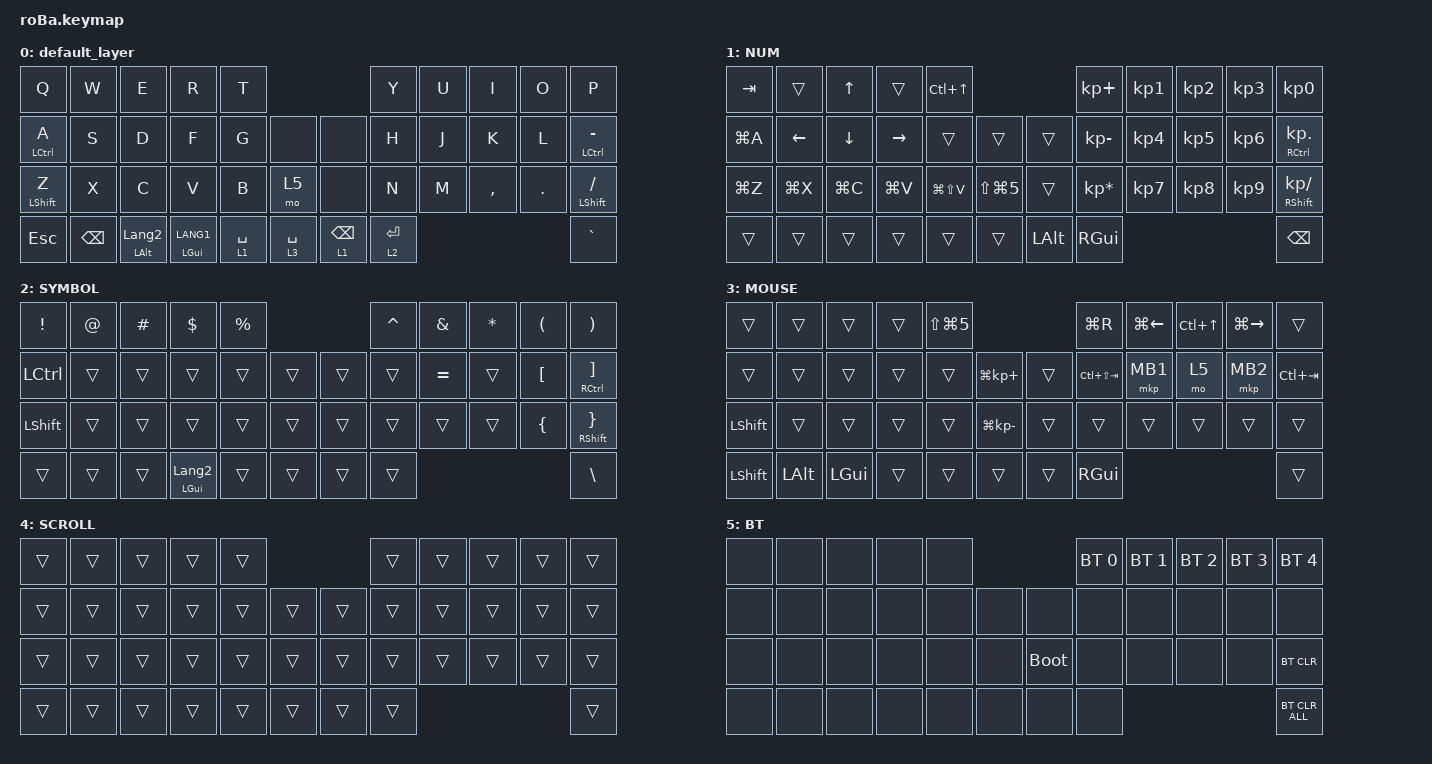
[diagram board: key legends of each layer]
#include <behaviors.dtsi>
#include <dt-bindings/zmk/bt.h>
#include <dt-bindings/zmk/keys.h>
#include <dt-bindings/zmk/pointing.h>

&mt {
    flavor = "balanced";
    quick-tap-ms = <0>;
};

&trackball {
    automouse-layer = <4>;
    scroll-layers = <5>;

    // arrows {
    //     layers = <3>;
    //     bindings =
    //         <&kp RIGHT_ARROW>,
    //         <&kp LEFT_ARROW>,
    //         <&kp UP_ARROW>,
    //         <&kp DOWN_ARROW>;
    //     tick = <10>;
    //     wait-ms = <5>;
    //     tap-ms = <5>;
    // };
};

/ {
    combos {
        compatible = "zmk,combos";

        tab {
            bindings = <&kp TAB>;
            key-positions = <11 12>;
        };

        shift_tab {
            bindings = <&kp LS(TAB)>;
            key-positions = <12 13>;
        };

        muhennkann {
            bindings = <&to_layer_0 INT_MUHENKAN>;
            key-positions = <11 10>;
        };

        single_quotation {
            bindings = <&kp SINGLE_QUOTE>;
            key-positions = <20 21>;
        };

        double_quotation {
            bindings = <&kp DOUBLE_QUOTES>;
            key-positions = <20 21 22>;
        };

        semi_colon {
            bindings = <&kp SEMI>;
            key-positions = <19 20>;
        };

        colon {
            bindings = <&kp LS(SEMICOLON)>;
            key-positions = <22 19 20>;
        };

        left_click {
            bindings = <&mkp LCLK>;
            key-positions = <18 19>;
        };

        scroll {
            bindings = <&mo 5>;
            key-positions = <18 20>;
        };

        right_click {
            bindings = <&mkp RCLK>;
            key-positions = <18 21>;
        };
    };

    macros {
        to_layer_0: to_layer_0 {
            compatible = "zmk,behavior-macro-one-param";
            #binding-cells = <1>;
            bindings = <&to 0 &macro_param_1to1 &kp MACRO_PLACEHOLDER>;
            label = "TO_LAYER_0";
        };
    };

    behaviors {
        lt_to_layer_0: lt_to_layer_0 {
            compatible = "zmk,behavior-hold-tap";
            label = "LAYER_TAP_TO_0";
            bindings = <&mo>, <&to_layer_0>;

            #binding-cells = <2>;
            tapping-term-ms = <200>;
        };
    };

    keymap {
        compatible = "zmk,keymap";

        default_layer {
            bindings = <
&kp Q             &kp W          &kp E                    &kp R               &kp T                                          &kp Y        &kp U  &kp I      &kp O    &kp P
&mt LCTRL A       &kp S          &kp D                    &kp F               &kp G        &none            &none            &kp H        &kp J  &kp K      &kp L    &mt LEFT_CONTROL MINUS
&mt LEFT_SHIFT Z  &kp X          &kp C                    &kp V               &kp B        &mo 5            &none            &kp N        &kp M  &kp COMMA  &kp DOT  &mt LEFT_SHIFT SLASH
&kp ESCAPE        &kp BACKSPACE  &mt LEFT_ALT LANGUAGE_2  &mt LEFT_GUI LANG1  &lt 1 SPACE  &lt 3 SPACE      &lt 1 BACKSPACE  &lt 2 ENTER                             &kp GRAVE
            >;
        };

        NUM {
            bindings = <
&kp TAB    &trans          &kp UP_ARROW    &trans           &kp LC(UP_ARROW)                                          &kp KP_PLUS      &kp KP_NUMBER_1  &kp KP_NUMBER_2  &kp KP_NUMBER_3  &kp KP_NUMBER_0
&kp LG(A)  &kp LEFT_ARROW  &kp DOWN_ARROW  &kp RIGHT_ARROW  &trans            &trans                    &trans        &kp KP_MINUS     &kp KP_NUMBER_4  &kp KP_NUMBER_5  &kp KP_NUMBER_6  &mt RIGHT_CONTROL KP_DOT
&kp LG(Z)  &kp LG(X)       &kp LG(C)       &kp LG(V)        &kp LG(LS(V))     &kp LS(LG(NUMBER_5))      &trans        &kp KP_ASTERISK  &kp KP_NUMBER_7  &kp KP_NUMBER_8  &kp KP_NUMBER_9  &mt RIGHT_SHIFT KP_SLASH
&trans     &trans          &trans          &trans           &trans            &trans                    &kp LEFT_ALT  &kp RIGHT_GUI                                                       &kp BACKSPACE
            >;
        };

        SYMBOL {
            bindings = <
&kp EXCLAMATION   &kp AT  &kp HASH  &kp DOLLAR               &kp PERCENT                      &kp CARET  &kp AMPERSAND  &kp ASTRK  &kp LEFT_PARENTHESIS  &kp RIGHT_PARENTHESIS
&kp LEFT_CONTROL  &trans  &trans    &trans                   &trans       &trans      &trans  &trans     &kp EQUAL      &trans     &kp LEFT_BRACKET      &mt RIGHT_CONTROL RIGHT_BRACKET
&kp LEFT_SHIFT    &trans  &trans    &trans                   &trans       &trans      &trans  &trans     &trans         &trans     &kp LEFT_BRACE        &mt RIGHT_SHIFT RIGHT_BRACE
&trans            &trans  &trans    &mt LEFT_GUI LANGUAGE_2  &trans       &trans      &trans  &trans                                                     &kp BACKSLASH
            >;
        };

        MOUSE {
            bindings = <
&trans          &trans        &trans        &trans  &kp LS(LG(NUMBER_5))                                &kp LG(R)        &kp LG(LEFT_ARROW)  &kp LC(UP_ARROW)  &kp LG(RIGHT_ARROW)  &trans
&trans          &trans        &trans        &trans  &trans                &kp LG(KP_PLUS)       &trans  &kp LC(LS(TAB))  &mkp MB1            &mo 5             &mkp MB2             &kp LC(TAB)
&kp LEFT_SHIFT  &trans        &trans        &trans  &trans                &kp LG(KP_MINUS)      &trans  &trans           &trans              &trans            &trans               &trans
&kp LEFT_SHIFT  &kp LEFT_ALT  &kp LEFT_GUI  &trans  &trans                &trans                &trans  &kp RIGHT_GUI                                                               &trans
            >;
        };

        SCROLL {
            bindings = <
&trans  &trans  &trans  &trans  &trans                      &trans  &trans  &trans  &trans  &trans
&trans  &trans  &trans  &trans  &trans  &trans      &trans  &trans  &trans  &trans  &trans  &trans
&trans  &trans  &trans  &trans  &trans  &trans      &trans  &trans  &trans  &trans  &trans  &trans
&trans  &trans  &trans  &trans  &trans  &trans      &trans  &trans                          &trans
            >;
        };

        BT {
            bindings = <
&none  &none  &none  &none  &none                          &bt BT_SEL 0  &bt BT_SEL 1  &bt BT_SEL 2  &bt BT_SEL 3  &bt BT_SEL 4
&none  &none  &none  &none  &none  &none      &none        &none         &none         &none         &none         &none
&none  &none  &none  &none  &none  &none      &bootloader  &none         &none         &none         &none         &bt BT_CLR
&none  &none  &none  &none  &none  &none      &none        &none                                                   &bt BT_CLR_ALL
            >;
        };
    };
};
